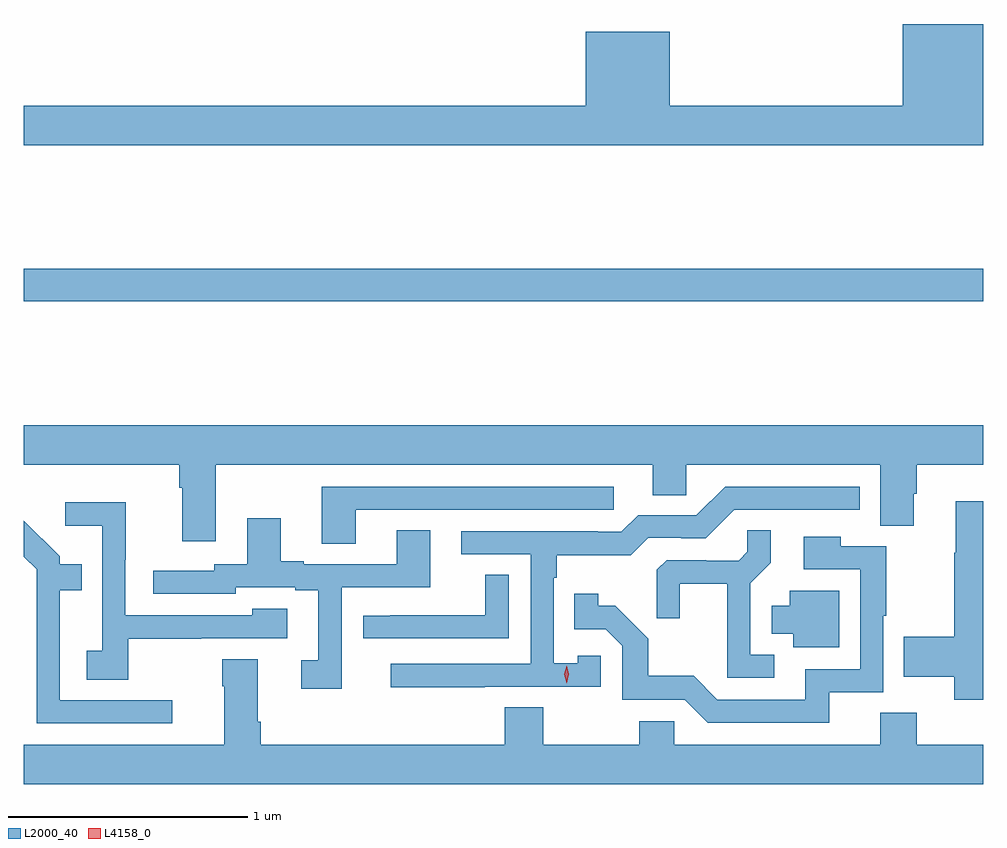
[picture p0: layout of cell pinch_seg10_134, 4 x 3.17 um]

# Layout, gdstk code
import gdstk
lib = gdstk.Library(unit=1e-6, precision=1e-09)
def R(c, l, rs):  # rectangles x0, y0, x1, y1
    for r in rs: c.add(gdstk.rectangle(r[:2], r[2:], *l))
def P(c, l, *ps):  # polygons
    for p in ps: c.add(gdstk.Polygon(p, *l))
L2000_40 = (2000, 40)
L4158_0 = (4158, 0)

pinch_seg10_134 = lib.new_cell('pinch_seg10_134')
R(pinch_seg10_134, L2000_40, [(699.814,1282.348,703.814,1282.484)])
P(pinch_seg10_134, L2000_40, [(703.814,1283.505),(703.478,1283.505),(703.478,1283.164),(702.508,1283.164),(702.508,1283.473),(702.158,1283.473),(702.158,1283.164),(699.814,1283.164),(699.814,1283),(703.814,1283)],
  [(700.615,1281.668),(702.437,1281.668),(702.437,1281.541),(702.576,1281.541),(702.576,1281.668),(703.385,1281.668),(703.385,1281.412),(703.525,1281.412),(703.525,1281.546),(703.538,1281.546),(703.538,1281.668),(703.814,1281.668),(703.814,1281.832),(699.814,1281.832),(699.814,1281.668),(700.463,1281.668),(700.463,1281.572),(700.475,1281.572),(700.475,1281.348),(700.615,1281.348)],
  [(701.197,1281.48),(702.274,1281.48),(702.274,1281.576),(701.057,1281.576),(701.057,1281.337),(701.197,1281.337)],
  [(701.735,1280.742),(702.219,1280.742),(702.219,1280.871),(702.123,1280.871),(702.123,1280.839),(702.024,1280.839),(702.024,1281.197),(702.037,1281.197),(702.037,1281.29),(702.344,1281.29),(702.417,1281.363),(702.556,1281.363),(702.556,1281.36),(702.657,1281.36),(702.777,1281.48),(703.3,1281.48),(703.3,1281.576),(702.738,1281.576),(702.618,1281.456),(702.375,1281.456),(702.306,1281.387),(702.206,1281.387),(702.206,1281.39),(701.637,1281.39),(701.637,1281.294),(701.928,1281.294),(701.928,1280.838),(701.343,1280.838),(701.343,1280.74),(701.735,1280.74)],
  [(703.814,1281.514),(703.7,1281.514),(703.7,1281.301),(703.693,1281.301),(703.693,1280.949),(703.483,1280.949),(703.483,1280.783),(703.693,1280.783),(703.693,1280.688),(703.814,1280.688)],
  [(700.249,1280.941),(700.553,1280.941),(700.553,1280.943),(700.912,1280.943),(700.912,1281.067),(700.767,1281.067),(700.767,1281.039),(700.236,1281.039),(700.236,1281.272),(700.239,1281.272),(700.239,1281.511),(699.987,1281.511),(699.987,1281.413),(700.14,1281.413),(700.14,1280.892),(700.077,1280.892),(700.077,1280.77),(700.249,1280.77)],
  [(701.139,1281.156),(701.509,1281.156),(701.509,1281.395),(701.369,1281.395),(701.369,1281.252),(700.981,1281.252),(700.981,1281.265),(700.885,1281.265),(700.885,1281.445),(700.745,1281.445),(700.745,1281.252),(700.608,1281.252),(700.608,1281.225),(700.353,1281.225),(700.353,1281.129),(700.698,1281.129),(700.698,1281.156),(700.946,1281.156),(700.946,1281.144),(701.042,1281.144),(701.042,1280.853),(700.971,1280.853),(700.971,1280.733),(701.139,1280.733)],
  [(700.432,1280.685),(699.964,1280.685),(699.964,1281.144),(700.055,1281.144),(700.055,1281.253),(699.963,1281.253),(699.963,1281.285),(699.814,1281.434),(699.814,1281.284),(699.867,1281.231),(699.867,1280.589),(700.432,1280.589)],
  [(702.943,1280.874),(702.843,1280.874),(702.843,1281.173),(702.929,1281.259),(702.929,1281.395),(702.831,1281.395),(702.831,1281.304),(702.794,1281.267),(702.66,1281.267),(702.66,1281.27),(702.495,1281.27),(702.454,1281.229),(702.454,1281.027),(702.548,1281.027),(702.548,1281.17),(702.746,1281.17),(702.746,1280.778),(702.943,1280.778)],
  [(703.172,1280.718),(703.398,1280.718),(703.398,1281.037),(703.411,1281.037),(703.411,1281.327),(703.221,1281.327),(703.221,1281.367),(703.065,1281.367),(703.065,1281.231),(703.302,1281.231),(703.302,1280.814),(703.073,1280.814),(703.073,1280.688),(702.705,1280.688),(702.607,1280.787),(702.418,1280.787),(702.418,1280.942),(702.28,1281.08),(702.21,1281.08),(702.21,1281.13),(702.109,1281.13),(702.109,1280.982),(702.24,1280.982),(702.309,1280.913),(702.309,1280.688),(702.57,1280.688),(702.666,1280.592),(703.172,1280.592)],
  [(701.835,1281.209),(701.737,1281.209),(701.737,1281.039),(701.341,1281.039),(701.341,1281.038),(701.229,1281.038),(701.229,1280.943),(701.835,1280.943)],
  [(703.213,1281.142),(703.007,1281.142),(703.007,1281.079),(702.932,1281.079),(702.932,1280.963),(703.022,1280.963),(703.022,1280.906),(703.213,1280.906)],
  [(703.814,1280.5),(703.538,1280.5),(703.538,1280.633),(703.385,1280.633),(703.385,1280.5),(702.525,1280.5),(702.525,1280.598),(702.379,1280.598),(702.379,1280.5),(701.979,1280.5),(701.979,1280.657),(701.819,1280.657),(701.819,1280.5),(700.802,1280.5),(700.802,1280.596),(700.789,1280.596),(700.789,1280.857),(700.642,1280.857),(700.642,1280.744),(700.649,1280.744),(700.649,1280.5),(699.814,1280.5),(699.814,1280.336),(703.814,1280.336)])
P(pinch_seg10_134, L4158_0, [(702.077,1280.757),(702.077,1280.757),(702.067,1280.793),(702.077,1280.829),(702.077,1280.83),(702.077,1280.829),(702.087,1280.793),(702.077,1280.757)])

lib.write_gds('pinch_seg10_134.gds')
